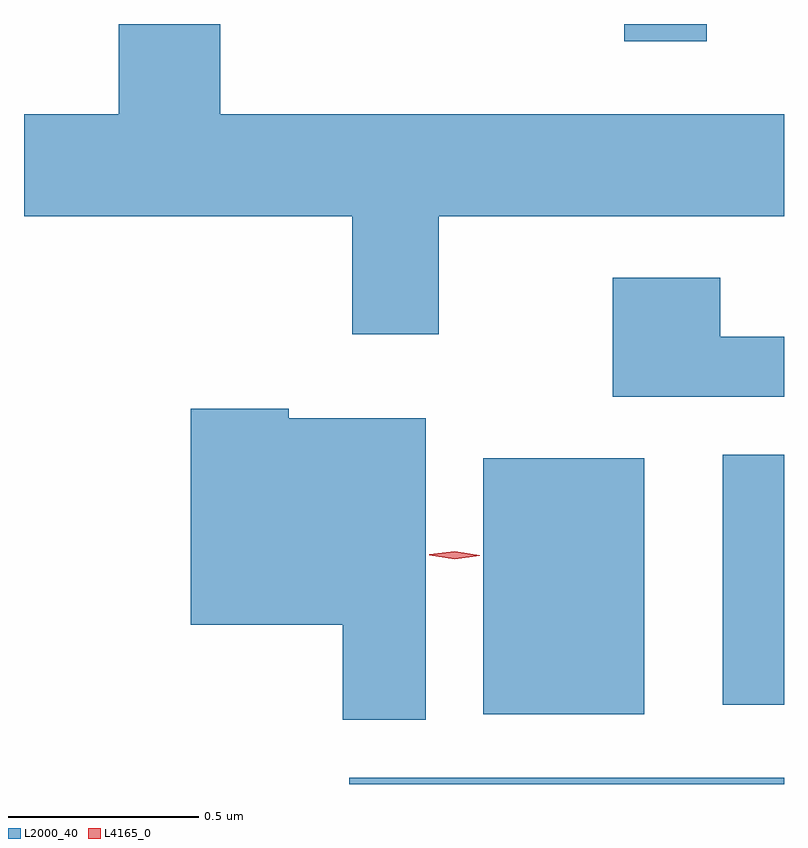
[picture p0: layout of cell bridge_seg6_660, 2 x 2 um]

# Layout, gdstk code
import gdstk
lib = gdstk.Library(unit=1e-6, precision=1e-09)
def R(c, l, rs):  # rectangles x0, y0, x1, y1
    for r in rs: c.add(gdstk.rectangle(r[:2], r[2:], *l))
def P(c, l, *ps):  # polygons
    for p in ps: c.add(gdstk.Polygon(p, *l))
L2000_40 = (2000, 40)
L4165_0 = (4165, 0)

bridge_seg6_660 = lib.new_cell('bridge_seg6_660')
R(bridge_seg6_660, L2000_40, [(235.663,1606.262,236.807,1606.279), (236.016,1606.446,236.439,1607.119), (236.646,1606.471,236.807,1607.129), (236.386,1608.216,236.604,1608.262)])
P(bridge_seg6_660, L2000_40, [(235.899,1607.756),(236.807,1607.756),(236.807,1608.024),(235.324,1608.024),(235.324,1608.262),(235.056,1608.262),(235.056,1608.024),(234.807,1608.024),(234.807,1607.756),(235.671,1607.756),(235.671,1607.446),(235.899,1607.446)],
  [(236.807,1607.439),(236.639,1607.439),(236.639,1607.594),(236.356,1607.594),(236.356,1607.281),(236.807,1607.281)],
  [(235.864,1607.224),(235.504,1607.224),(235.504,1607.249),(235.246,1607.249),(235.246,1606.681),(235.646,1606.681),(235.646,1606.431),(235.864,1606.431)])
P(bridge_seg6_660, L4165_0, [(235.94,1606.854),(235.874,1606.864),(235.874,1606.865),(235.874,1606.866),(235.94,1606.874),(236.006,1606.864),(236.006,1606.864),(236.006,1606.863)])

lib.write_gds('bridge_seg6_660.gds')
